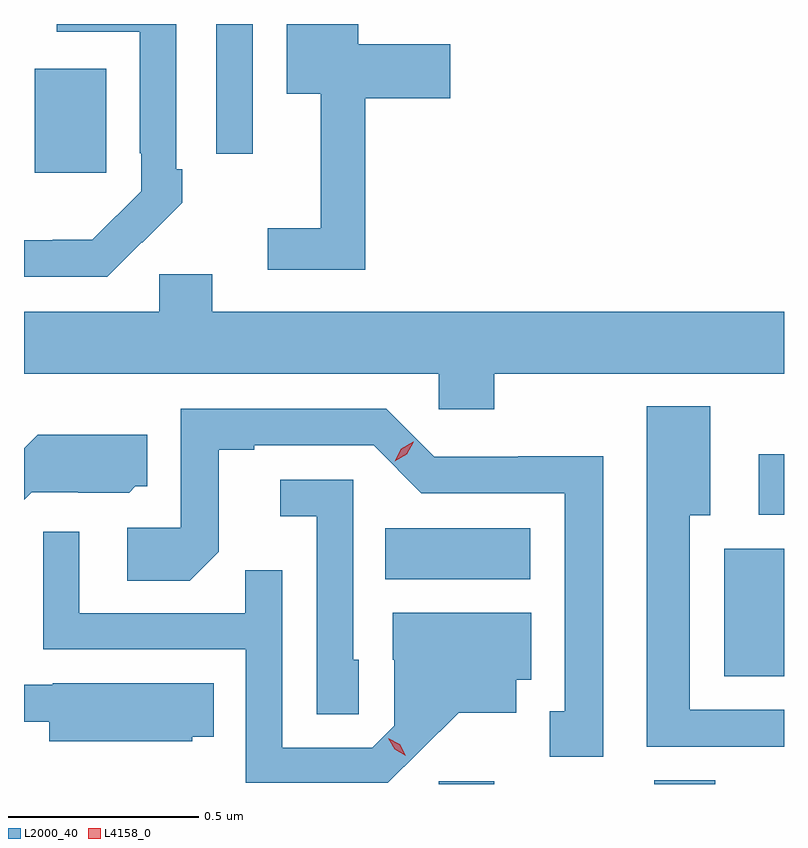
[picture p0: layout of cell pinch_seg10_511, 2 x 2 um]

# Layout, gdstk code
import gdstk
lib = gdstk.Library(unit=1e-6, precision=1e-09)
def R(c, l, rs):  # rectangles x0, y0, x1, y1
    for r in rs: c.add(gdstk.rectangle(r[:2], r[2:], *l))
def P(c, l, *ps):  # polygons
    for p in ps: c.add(gdstk.Polygon(p, *l))
L2000_40 = (2000, 40)
L4158_0 = (4158, 0)

pinch_seg10_511 = lib.new_cell('pinch_seg10_511')
R(pinch_seg10_511, L2000_40, [(282.696,1297.905,282.843,1297.912), (283.264,1297.905,283.424,1297.915), (283.448,1298.189,283.605,1298.524), (282.556,1298.444,282.937,1298.578), (283.539,1298.613,283.605,1298.773), (281.633,1299.513,281.821,1299.787), (282.111,1299.564,282.207,1299.905)])
P(pinch_seg10_511, L2000_40, [(282.503,1299.71),(282.727,1299.71),(282.727,1299.852),(282.484,1299.852),(282.484,1299.905),(282.296,1299.905),(282.296,1299.722),(282.386,1299.722),(282.386,1299.367),(282.246,1299.367),(282.246,1299.258),(282.503,1299.258)],
  [(281.915,1299.331),(281.916,1299.33),(282.021,1299.435),(282.021,1299.523),(282.006,1299.523),(282.006,1299.905),(281.691,1299.905),(281.691,1299.885),(281.91,1299.885),(281.91,1299.565),(281.913,1299.565),(281.913,1299.465),(281.785,1299.337),(281.681,1299.337),(281.681,1299.336),(281.605,1299.336),(281.605,1299.24),(281.824,1299.24)],
  [(282.843,1298.984),(283.605,1298.984),(283.605,1299.148),(282.1,1299.148),(282.1,1299.246),(281.961,1299.246),(281.961,1299.148),(281.605,1299.148),(281.605,1298.984),(282.696,1298.984),(282.696,1298.891),(282.843,1298.891)],
  [(283.605,1298.1),(283.357,1298.1),(283.357,1298.612),(283.411,1298.612),(283.411,1298.899),(283.244,1298.899),(283.244,1298.003),(283.605,1298.003)],
  [(283.129,1298.768),(282.906,1298.768),(282.906,1298.766),(282.684,1298.766),(282.558,1298.892),(282.018,1298.892),(282.018,1298.58),(281.877,1298.58),(281.877,1298.44),(282.041,1298.44),(282.117,1298.516),(282.117,1298.784),(282.211,1298.784),(282.211,1298.796),(282.525,1298.796),(282.651,1298.67),(283.028,1298.67),(283.028,1298.097),(282.989,1298.097),(282.989,1297.977),(283.129,1297.977)],
  [(281.625,1298.673),(281.748,1298.673),(281.748,1298.672),(281.882,1298.672),(281.898,1298.688),(281.929,1298.688),(281.929,1298.824),(281.641,1298.824),(281.605,1298.788),(281.605,1298.653)],
  [(282.486,1298.232),(282.471,1298.232),(282.471,1298.706),(282.279,1298.706),(282.279,1298.609),(282.375,1298.609),(282.375,1298.089),(282.486,1298.089)],
  [(282.646,1297.991),(282.749,1298.093),(282.901,1298.093),(282.901,1298.18),(282.94,1298.18),(282.94,1298.356),(282.575,1298.356),(282.575,1298.232),(282.579,1298.232),(282.579,1298.058),(282.522,1298.001),(282.285,1298.001),(282.285,1298.468),(282.187,1298.468),(282.187,1298.355),(281.751,1298.355),(281.751,1298.569),(281.655,1298.569),(281.655,1298.259),(282.189,1298.259),(282.189,1297.908),(282.562,1297.908)],
  [(282.048,1298.03),(282.104,1298.03),(282.104,1298.17),(281.68,1298.17),(281.68,1298.166),(281.605,1298.166),(281.605,1298.069),(281.672,1298.069),(281.672,1298.018),(282.048,1298.018)])
P(pinch_seg10_511, L4158_0, [(282.58,1298.754),(282.58,1298.754),(282.598,1298.787),(282.629,1298.806),(282.63,1298.806),(282.63,1298.806),(282.612,1298.773),(282.58,1298.754)],
  [(282.61,1297.98),(282.58,1297.996),(282.563,1298.025),(282.563,1298.026),(282.564,1298.026),(282.594,1298.01),(282.61,1297.98),(282.61,1297.98)])

lib.write_gds('pinch_seg10_511.gds')
